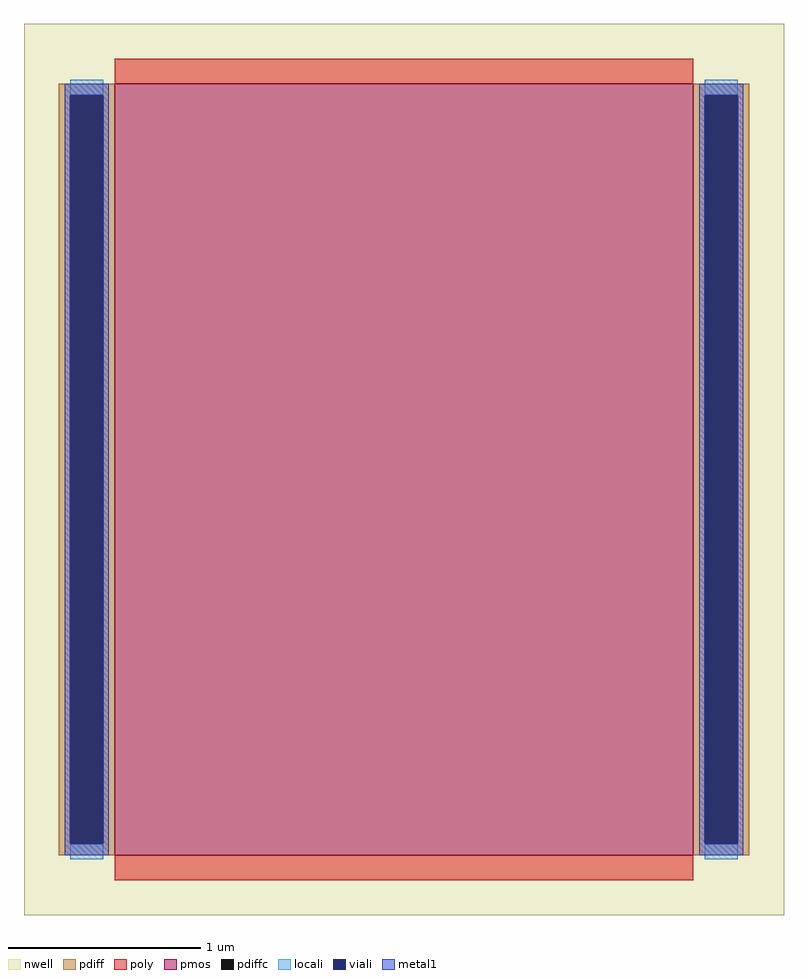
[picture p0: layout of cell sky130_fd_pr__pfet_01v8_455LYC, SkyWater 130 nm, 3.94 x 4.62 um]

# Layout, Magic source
magic
tech sky130A
<< nwell >>
rect -197 -231 197 231
<< pmos >>
rect -150 -200 150 200
<< pdiff >>
rect -179 194 -150 200
rect -179 -194 -173 194
rect -156 -194 -150 194
rect -179 -200 -150 -194
rect 150 194 179 200
rect 150 -194 156 194
rect 173 -194 179 194
rect 150 -200 179 -194
<< pdiffc >>
rect -173 -194 -156 194
rect 156 -194 173 194
<< poly >>
rect -150 200 150 213
rect -150 -213 150 -200
<< locali >>
rect -173 194 -156 202
rect -173 -202 -156 -194
rect 156 194 173 202
rect 156 -202 173 -194
<< viali >>
rect -173 -194 -156 194
rect 156 -194 173 194
<< metal1 >>
rect -176 194 -153 200
rect -176 -194 -173 194
rect -156 -194 -153 194
rect -176 -200 -153 -194
rect 153 194 176 200
rect 153 -194 156 194
rect 173 -194 176 194
rect 153 -200 176 -194
<< properties >>
string gencell sky130_fd_pr__pfet_01v8
string library sky130
string parameters w 4 l 3 m 1 nf 1 diffcov 100 polycov 100 guard 0 glc 0 grc 0 gtc 0 gbc 0 tbcov 100 rlcov 100 topc 0 botc 0 poverlap 0 doverlap 0 lmin 0.15 wmin 0.42 class mosfet compatible {sky130_fd_pr__pfet_01v8  sky130_fd_pr__pfet_01v8_lvt sky130_fd_pr__pfet_01v8_hvt  sky130_fd_pr__pfet_g5v0d10v5} full_metal 0 viasrc 100 viadrn 100 viagate 100 viagb 0 viagr 0 viagl 0 viagt 0
<< end >>
